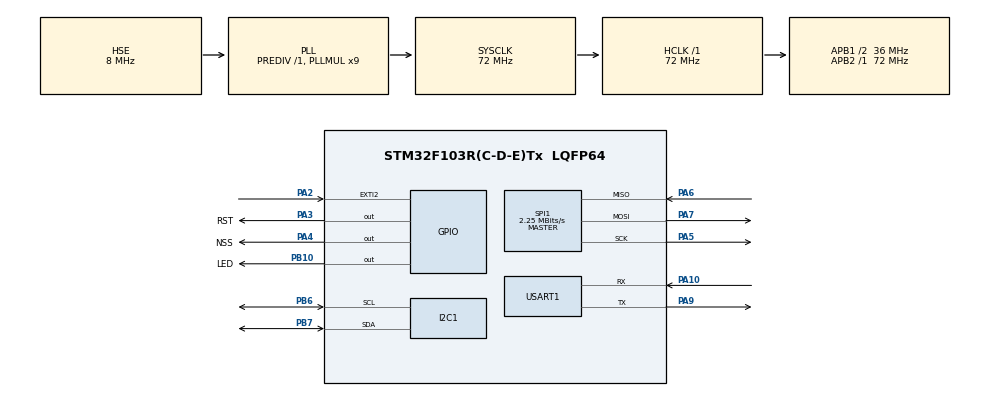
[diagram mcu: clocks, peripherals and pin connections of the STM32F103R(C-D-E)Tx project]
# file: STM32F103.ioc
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Dma.Request0=USART1_RX
Dma.Request1=USART1_TX
Dma.USART1_RX.0.Direction=DMA_PERIPH_TO_MEMORY
Dma.USART1_RX.0.Instance=DMA1_Channel5
Dma.USART1_RX.0.MemDataAlignment=DMA_MDATAALIGN_BYTE
Dma.USART1_RX.0.MemInc=DMA_MINC_ENABLE
Dma.USART1_RX.0.Mode=DMA_NORMAL
Dma.USART1_RX.0.PeriphDataAlignment=DMA_PDATAALIGN_BYTE
Dma.USART1_RX.0.PeriphInc=DMA_PINC_DISABLE
Dma.USART1_RX.0.Priority=DMA_PRIORITY_LOW
Dma.USART1_TX.1.Direction=DMA_MEMORY_TO_PERIPH
Dma.USART1_TX.1.Instance=DMA1_Channel4
Dma.USART1_TX.1.MemDataAlignment=DMA_MDATAALIGN_BYTE
Dma.USART1_TX.1.MemInc=DMA_MINC_ENABLE
Dma.USART1_TX.1.Mode=DMA_NORMAL
Dma.USART1_TX.1.PeriphDataAlignment=DMA_PDATAALIGN_BYTE
Dma.USART1_TX.1.PeriphInc=DMA_PINC_DISABLE
Dma.USART1_TX.1.Priority=DMA_PRIORITY_LOW
I2C1.I2C_Mode=I2C_Fast
I2C1.OwnAddress=0
Mcu.Family=STM32F1
Mcu.Name=STM32F103R(C-D-E)Tx
Mcu.Package=LQFP64
NVIC.DMA1_Channel4_IRQn=true\:0\:0\:false\:false\:true
NVIC.DMA1_Channel5_IRQn=true\:0\:0\:false\:false\:true
NVIC.EXTI2_IRQn=true\:1\:0\:true\:false\:true
NVIC.I2C1_ER_IRQn=true\:0\:0\:false\:false\:true
NVIC.I2C1_EV_IRQn=true\:0\:0\:false\:false\:true
NVIC.PriorityGroup=NVIC_PRIORITYGROUP_4
NVIC.USART1_IRQn=true\:0\:0\:false\:false\:true
PA10.Mode=Asynchronous
PA10.Signal=USART1_RX
PA13.Mode=JTAG_5_pins
PA13.Signal=SYS_JTMS-SWDIO
PA14.Mode=JTAG_5_pins
PA14.Signal=SYS_JTCK-SWCLK
PA15.Mode=JTAG_5_pins
PA15.Signal=SYS_JTDI
PA2.GPIO_ModeDefaultEXTI=GPIO_MODE_IT_RISING
PA2.GPIO_PuPd=GPIO_NOPULL
PA2.Signal=GPXTI2
PA3.GPIO_Label=RST
PA3.GPIO_ModeDefaultOutputPP=GPIO_MODE_OUTPUT_PP
PA3.GPIO_Speed=GPIO_SPEED_FREQ_HIGH
PA3.PinState=GPIO_PIN_SET
PA3.Signal=GPIO_Output
PA4.GPIO_Label=NSS
PA4.GPIO_Speed=GPIO_SPEED_FREQ_HIGH
PA4.PinState=GPIO_PIN_SET
PA4.Signal=GPIO_Output
PA5.Mode=Full_Duplex_Master
PA5.Signal=SPI1_SCK
PA6.Mode=Full_Duplex_Master
PA6.Signal=SPI1_MISO
PA7.Mode=Full_Duplex_Master
PA7.Signal=SPI1_MOSI
PA9.Mode=Asynchronous
PA9.Signal=USART1_TX
PB10.GPIO_Label=LED
PB10.GPIO_ModeDefaultOutputPP=GPIO_MODE_OUTPUT_PP
PB10.GPIO_Speed=GPIO_SPEED_FREQ_LOW
PB10.PinState=GPIO_PIN_RESET
PB10.Signal=GPIO_Output
PB3.Mode=JTAG_5_pins
PB3.Signal=SYS_JTDO-TRACESWO
PB4.Mode=JTAG_5_pins
PB4.Signal=SYS_NJTRST
PB6.Mode=I2C
PB6.Signal=I2C1_SCL
PB7.Mode=I2C
PB7.Signal=I2C1_SDA
PD0-OSC_IN.Mode=HSE-External-Oscillator
PD0-OSC_IN.Signal=RCC_OSC_IN
PD1-OSC_OUT.Mode=HSE-External-Oscillator
PD1-OSC_OUT.Signal=RCC_OSC_OUT
ProjectManager.HeapSize=0x1000
ProjectManager.StackSize=0x400
ProjectManager.TargetToolchain=MDK-ARM V5
RCC.AHBFreq_Value=72000000
RCC.APB1CLKDivider=RCC_HCLK_DIV2
RCC.APB1Freq_Value=36000000
RCC.APB1TimFreq_Value=72000000
RCC.APB2Freq_Value=72000000
RCC.APB2TimFreq_Value=72000000
RCC.HCLKFreq_Value=72000000
RCC.HSIState=RCC_HSI_ON
RCC.PLLMUL=RCC_PLL_MUL9
RCC.PLLSourceVirtual=RCC_PLLSOURCE_HSE
RCC.SYSCLKFreq_VALUE=72000000
RCC.SYSCLKSource=RCC_SYSCLKSOURCE_PLLCLK
RCC.USBFreq_Value=72000000
SPI1.BaudRatePrescaler=SPI_BAUDRATEPRESCALER_32
SPI1.CLKPhase=SPI_PHASE_1EDGE
SPI1.CLKPolarity=SPI_POLARITY_LOW
SPI1.CRCCalculation=SPI_CRCCALCULATION_DISABLE
SPI1.CalculateBaudRate=2.25 MBits/s
SPI1.Mode=SPI_MODE_MASTER
board=STM32F103

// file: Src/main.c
/**
  ******************************************************************************
  * File Name          : main.c
  * Description        : Main program body
  ******************************************************************************
  *
  * COPYRIGHT(c) 2017 STMicroelectronics
  *
  * Redistribution and use in source and binary forms, with or without modification,
  * are permitted provided that the following conditions are met:
  *   1. Redistributions of source code must retain the above copyright notice,
  *      this list of conditions and the following disclaimer.
  *   2. Redistributions in binary form must reproduce the above copyright notice,
  *      this list of conditions and the following disclaimer in the documentation
  *      and/or other materials provided with the distribution.
  *   3. Neither the name of STMicroelectronics nor the names of its contributors
  *      may be used to endorse or promote products derived from this software
  *      without specific prior written permission.
  *
  * THIS SOFTWARE IS PROVIDED BY THE COPYRIGHT HOLDERS AND CONTRIBUTORS "AS IS"
  * AND ANY EXPRESS OR IMPLIED WARRANTIES, INCLUDING, BUT NOT LIMITED TO, THE
  * IMPLIED WARRANTIES OF MERCHANTABILITY AND FITNESS FOR A PARTICULAR PURPOSE ARE
  * DISCLAIMED. IN NO EVENT SHALL THE COPYRIGHT HOLDER OR CONTRIBUTORS BE LIABLE
  * FOR ANY DIRECT, INDIRECT, INCIDENTAL, SPECIAL, EXEMPLARY, OR CONSEQUENTIAL
  * DAMAGES (INCLUDING, BUT NOT LIMITED TO, PROCUREMENT OF SUBSTITUTE GOODS OR
  * SERVICES; LOSS OF USE, DATA, OR PROFITS; OR BUSINESS INTERRUPTION) HOWEVER
  * CAUSED AND ON ANY THEORY OF LIABILITY, WHETHER IN CONTRACT, STRICT LIABILITY,
  * OR TORT (INCLUDING NEGLIGENCE OR OTHERWISE) ARISING IN ANY WAY OUT OF THE USE
  * OF THIS SOFTWARE, EVEN IF ADVISED OF THE POSSIBILITY OF SUCH DAMAGE.
  *
  ******************************************************************************
  */
#include "main.h"
#include "stm32f1xx_hal.h"
#include "dma.h"
#include "i2c.h"
#include "spi.h"
#include "usart.h"
#include "gpio.h"

/* USER CODE BEGIN Includes */
#include "TaskTimeManager.h"
#include "ProtocolFrame.h"
#include "ComBuff.h"
#include "MFRC522.h"

#define LED_ON() HAL_GPIO_WritePin(LED_GPIO_Port, LED_Pin, GPIO_PIN_RESET)
#define LED_OFF() HAL_GPIO_WritePin(LED_GPIO_Port, LED_Pin, GPIO_PIN_SET)
/* USER CODE END Includes */

/* USER CODE BEGIN PV */
/* Private variables ---------------------------------------------------------*/

/* USER CODE END PV */

void SystemClock_Config(void);
void Error_Handler(void);

/* USER CODE BEGIN PFP */
/* Private function prototypes -----------------------------------------------*/

/* USER CODE END PFP */

/* USER CODE BEGIN 0 */
void LED_TEST(void){
  static uint8_t seq = 0;
	//HAL_GPIO_WritePin(LED_GPIO_Port, LED_Pin, (GPIO_PinState)(seq%2));
  printf("LED_TEST:%d\r\n", seq++);
//	State_P_T state = {0};
//	state.para1 = 32;
//	Protocol_Send(REPORT_STATE, &state, sizeof(State_P_T));
}

uint8_t BuffPWD[6] = {0};
uint8_t TmpBuff[6] = {0};
uint16_t TmpPWD = 0;
uint8_t* getTestPWD(){
	memcpy(TmpBuff, BuffPWD, 6);
	if(BuffPWD[0] == 255){
		BuffPWD[1] ++;}
	if(BuffPWD[1] == 255){
		BuffPWD[1] = 0;
		BuffPWD[2] ++;}
	if(BuffPWD[2] == 255){
		BuffPWD[2] = 0;
		BuffPWD[3] ++;}
	if(BuffPWD[3] == 255){
		BuffPWD[3] = 0;
		BuffPWD[4] ++;}
	if(BuffPWD[4] == 255){
		BuffPWD[4] = 0;
		BuffPWD[5] ++;}

	BuffPWD[0]++;
	if(BuffPWD[5] == 255){
		return NULL;
	}
	return TmpBuff;
}

unsigned char DefaultKey[6] = {0xFF, 0xFF, 0xFF, 0xFF, 0xFF, 0xFF};
unsigned char g_ucTempbuf[20];
unsigned char card_seq[20];
void MFRC522_Run(void){

		printf("%d,%d,%d\r\n", TmpBuff[0], TmpBuff[1], TmpBuff[2]);
//		printf("ModeReg_3D:%X\r\n",ReadRawRC(ModeReg));
//		printf("TReloadRegL_30:%X\r\n",ReadRawRC(TReloadRegL));
//		printf("TReloadRegH_0:%X\r\n",ReadRawRC(TReloadRegH));
//		printf("TModeReg_8D:%X\r\n",ReadRawRC(TModeReg));
//		printf("TPrescalerReg_3E:%X\r\n",ReadRawRC(TPrescalerReg));
//	int8_t res = ReadRawRC(CWGsCfgReg);
	//
	int8_t status = PcdRequest(PICC_REQALL, card_seq);//寻天线区内未进入休眠状态
	if (status != MI_OK)//未寻到卡返回继续寻卡
	{
		LED_OFF();
		return;
  }
	LED_ON();
	status = PcdAnticoll(card_seq); //防冲突处理，输出卡片序列号，4字节
	if (status != MI_OK)
	{
		printf("PcdAnticoll != MI_OK\r\n");
		return;
	}else{
		printf("card sequence number:%02x %02x %02x %02x\r\n",card_seq[0],card_seq[1],card_seq[2],card_seq[3]);

		status = PcdSelect(card_seq); //选择卡片，输入卡片序列号，4字节
		if (status != MI_OK)
		{
			printf("PcdSelect != MI_OK\r\n");
			return;
		}
		UnlockBlock0();
		return;

//		//读取卡片内所有数据
//		uint8_t j = 0;
//		for(uint8_t i = 0; i < 16; i++){
//			status = PcdAuthState(PICC_AUTHENT1A, i*4, DefaultKey, card_seq);		//在读写卡之前需要先进行认证
//			if (status != MI_OK)
//			{
//				printf("PcdAuthState != MI_OK\r\n");
//				return;
//			}
//			printf("第%d扇区\r\n", i);
//			for(j = 0; j < 4; j++){
//				printf("\t第%d块\r\n",i*4+j);
//				status = PcdRead(i*4+j, g_ucTempbuf);//读取卡片数据 地址，数据回填
//				if (status != MI_OK)
//				{
//					printf("\tPcdRead != MI_OK\r\n");
//					break;
//				}
//				printf("\t");
//				for(uint16_t z = 0; z < 16; z++){
//					printf(" 0x%02X", g_ucTempbuf[z]);
//				}
//				printf("\r\n");
//			}
//			if(j != 4)
//				break;
//		}

		uint8_t private_key[] = {0xFF,0xFF,0xFF,0xFF,0xFF,0xFF};
		uint8_t data[] = {0xDE, 0x4B, 0xA2, 0x69, 0x5E, 0x08, 0x04, 0x00, 0x01, 0x0D, 0x63, 0xE3, 0xC1, 0xBB, 0x77, 0x1D};
			status = PcdAuthState(PICC_AUTHENT1A, 0, private_key, card_seq);		//在读写卡之前需要先进行认证
			if (status != MI_OK)
			{
				printf("PcdAuthState != MI_OK\r\n");
				return;
			}
		status = PcdWrite(0, data);//读取卡片数据 地址，数据回填
		//printf("卡数据：%02X,%02X\r\n", g_ucTempbuf[0], g_ucTempbuf[1]);
		if (status != MI_OK)
		{
			printf("PcdWrite != MI_OK\r\n");
			return;
		}else{
			printf("数据写卡成功\r\n");
		}

		status = PcdHalt();   //命令卡片进入休眠状态
		if (status != MI_OK)
		{
			printf("PcdHalt != MI_OK\r\n");
			return;
		}else{
			printf("卡休眠\r\n");
			return;
		}
	}
}

void HAL_GPIO_EXTI_Callback(uint16_t GPIO_Pin){
	if(GPIO_Pin == GPIO_PIN_2){
		printf("中断\r\n");
	}
}
/* USER CODE END 0 */

int main(void)
{

  /* MCU Configuration----------------------------------------------------------*/

  /* Reset of all peripherals, Initializes the Flash interface and the Systick. */
  HAL_Init();

  /* Configure the system clock */
  SystemClock_Config();

  /* Initialize all configured peripherals */
  MX_GPIO_Init();
  MX_DMA_Init();
  MX_I2C1_Init();
  MX_USART1_UART_Init();
  MX_SPI1_Init();

  /* USER CODE BEGIN 2 */
  TaskTime_Init();
  ProtocolFrame_Init();
  Log_Init();
  ComBuff_Init();

	LED_OFF();
	PcdReset();
	PcdAntennaOff();
	M500PcdConfigISOType( 'A' );

	/*-----------测试调试任务-----------------*/
  TaskTime_Add(TaskID++, TimeCycle(0,500), LED_TEST, Real_Mode);
	/*-----------持续传输任务-----------------*/
  TaskTime_Add(TaskID++, TimeCycle(0,30), SenderKeepTransmit, Count_Mode);
	/*-----------协议解析任务-----------------*/
  TaskTime_Add(TaskID++, TimeCycle(0,30), PaddingProtocol, Real_Mode);
	/*-----------协议执行任务-----------------*/
	TaskTime_Add(TaskID++, TimeCycle(0,30), FetchProtocols, Real_Mode);
	/*-----------执行读卡器任务-----------------*/
	TaskTime_Add(TaskID++, TimeCycle(0,500), MFRC522_Run, Real_Mode);
  /* USER CODE END 2 */

  /* Infinite loop */
  while (1)
  {

  /* USER CODE BEGIN 3 */
    TaskTime_Run();
		getTestPWD();
  }
  /* USER CODE END 3 */

}

/** System Clock Configuration
*/
void SystemClock_Config(void)
{

  RCC_OscInitTypeDef RCC_OscInitStruct;
  RCC_ClkInitTypeDef RCC_ClkInitStruct;

    /**Initializes the CPU, AHB and APB busses clocks
    */
  RCC_OscInitStruct.OscillatorType = RCC_OSCILLATORTYPE_HSE;
  RCC_OscInitStruct.HSEState = RCC_HSE_ON;
  RCC_OscInitStruct.HSEPredivValue = RCC_HSE_PREDIV_DIV1;
  RCC_OscInitStruct.HSIState = RCC_HSI_ON;
  RCC_OscInitStruct.PLL.PLLState = RCC_PLL_ON;
  RCC_OscInitStruct.PLL.PLLSource = RCC_PLLSOURCE_HSE;
  RCC_OscInitStruct.PLL.PLLMUL = RCC_PLL_MUL9;
  if (HAL_RCC_OscConfig(&RCC_OscInitStruct) != HAL_OK)
  {
    Error_Handler();
  }

    /**Initializes the CPU, AHB and APB busses clocks
    */
  RCC_ClkInitStruct.ClockType = RCC_CLOCKTYPE_HCLK|RCC_CLOCKTYPE_SYSCLK
                              |RCC_CLOCKTYPE_PCLK1|RCC_CLOCKTYPE_PCLK2;
  RCC_ClkInitStruct.SYSCLKSource = RCC_SYSCLKSOURCE_PLLCLK;
  RCC_ClkInitStruct.AHBCLKDivider = RCC_SYSCLK_DIV1;
  RCC_ClkInitStruct.APB1CLKDivider = RCC_HCLK_DIV2;
  RCC_ClkInitStruct.APB2CLKDivider = RCC_HCLK_DIV1;

  if (HAL_RCC_ClockConfig(&RCC_ClkInitStruct, FLASH_LATENCY_2) != HAL_OK)
  {
    Error_Handler();
  }

    /**Configure the Systick interrupt time
    */
  HAL_SYSTICK_Config(HAL_RCC_GetHCLKFreq()/1000);

    /**Configure the Systick
    */
  HAL_SYSTICK_CLKSourceConfig(SYSTICK_CLKSOURCE_HCLK);

  /* SysTick_IRQn interrupt configuration */
  HAL_NVIC_SetPriority(SysTick_IRQn, 0, 0);
}

void Error_Handler(void)
{
  /* USER CODE BEGIN Error_Handler */
  /* User can add his own implementation to report the HAL error return state */
  while(1)
  {
    Log.error("Error_Handler");
  }
  /* USER CODE END Error_Handler */
}

/************************ (C) COPYRIGHT STMicroelectronics *****END OF FILE****/
